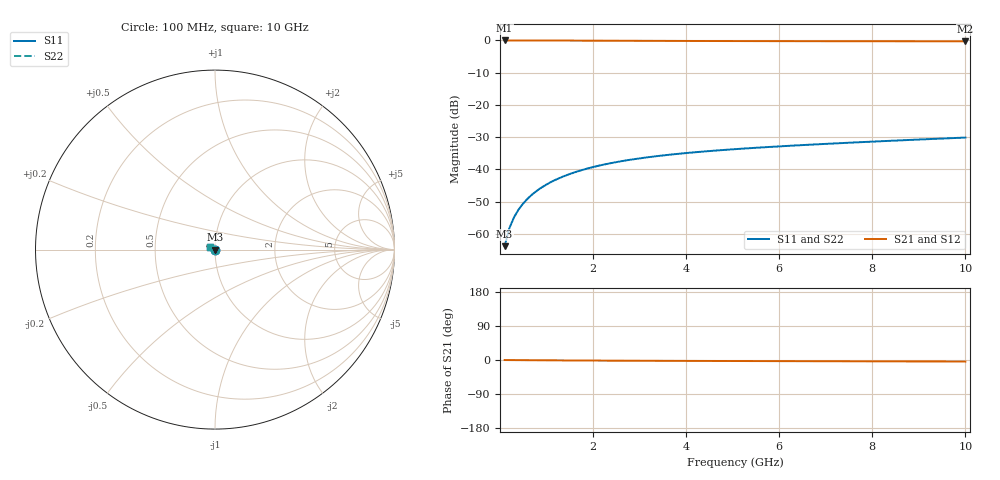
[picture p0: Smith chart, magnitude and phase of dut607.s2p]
! Touchstone file exported from HFSS 2024.1.0
!  File:  C:/UserFiles/LocalFiles/RDL_TSV_Batchsim/temp_TSV1_607_1779787912.aedt
!  Generated:  05:37:34 PM May 26, 2026
!  Design:  TSV1
!  Project:  temp_TSV1_607_1779787912
!  Setup:  Setup1
!  Solution:  Sweep
! Variables:
!  dtsv = 6.9um
!  hbump = 3um
!  htsv = 59.19um
!  lrdl = 252.1521522um
!  p = 40
!  p1 = 50.38um
!  t = 500um
!  trdl = 3um
!  wrdl = 24.89489489um
# GHz S MA R 50.000000
! Terminal data exported
! Port[1] = TSV22_T1
! Port[2] = TSV22_T2
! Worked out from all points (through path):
!   100 points, 100 MHz to 10 GHz, reference 50 ohm
!   highest |S21| = 0.00 dB at 100 MHz (marker M1); lowest = -0.3 dB at 10 GHz (marker M2)
!   lowest |S11| = -63.8 dB at 100 MHz (marker M3), VSWR 1.00, Z = 50 - j0.0603 ohm
!   |S11| at or under -10 dB: start of sweep to end of sweep
!   |S22| runs from -63.8 to -30.1 dB; largest |S21 - S12| = 3e-15
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0.1  0.000645 -69.2  0.9997 -0.1  0.9997 -0.1  0.000645 -69.2
! Gamma 0 0 0 0
! Port Impedance 50 0 50 0
0.2  0.001213 -82.5  0.9996 -0.2  0.9996 -0.2  0.001213 -82.5
0.3  0.001797 -88.7  0.9995 -0.3  0.9995 -0.3  0.001797 -88.7
0.4  0.002384 -92.9  0.9993 -0.3  0.9993 -0.3  0.002384 -92.9
0.5  0.00297 -96.3  0.9991 -0.4  0.9991 -0.4  0.00297 -96.3
0.6  0.003553 -99.3  0.9989 -0.5  0.9989 -0.5  0.003553 -99.3
0.7  0.004133 -102.0  0.9986 -0.6  0.9986 -0.6  0.004133 -102.0
0.8  0.004707 -104.5  0.9982 -0.7  0.9982 -0.7  0.004707 -104.5
0.9  0.005274 -106.9  0.9979 -0.7  0.9979 -0.7  0.005274 -106.9
1.1  0.006384 -111.5  0.997 -0.9  0.997 -0.9  0.006384 -111.5
1.4  0.007978 -117.8  0.9956 -1.1  0.9956 -1.1  0.007978 -117.8
1.6  0.008988 -121.9  0.9946 -1.2  0.9946 -1.2  0.008988 -121.9
1.8  0.009953 -125.8  0.9935 -1.4  0.9935 -1.4  0.009953 -125.8
2.1  0.01132 -131.3  0.9918 -1.5  0.9918 -1.5  0.01132 -131.3
2.5  0.01298 -138.2  0.9896 -1.8  0.9896 -1.8  0.01298 -138.2
2.9  0.01448 -144.7  0.9874 -1.9  0.9874 -1.9  0.01448 -144.7
3.4  0.01615 -152.0  0.9848 -2.1  0.9848 -2.1  0.01615 -152.0
4.2  0.01847 -162.5  0.9813 -2.4  0.9813 -2.4  0.01847 -162.5
5.1  0.02073 -172.6  0.9781 -2.7  0.9781 -2.7  0.02073 -172.6
6.7  0.02426 172.9  0.9741 -3.2  0.9741 -3.2  0.02426 172.9
8.4  0.0278 160.9  0.9712 -3.7  0.9712 -3.7  0.0278 160.9
10  0.03117 151.9  0.9693 -4.1  0.9693 -4.1  0.03117 151.9
